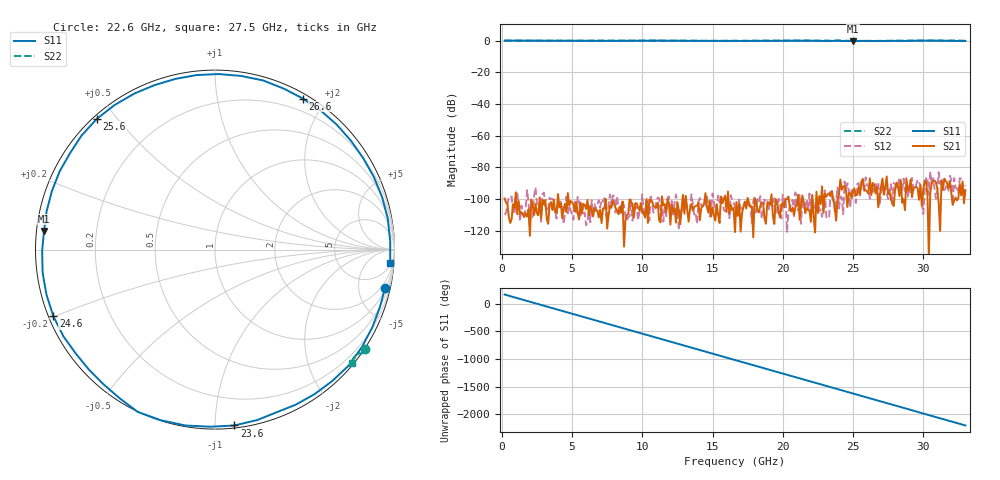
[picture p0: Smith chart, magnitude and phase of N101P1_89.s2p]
# GHZ S RI R 50
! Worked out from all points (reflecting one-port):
!   329 points, 200 MHz to 33 GHz, reference 50 ohm
!   lowest |S11| = -0.4 dB at 25 GHz (marker M1), VSWR 46.66, Z = 1.07 + j2.71 ohm
!   phase of S11 starts at 165 deg and turns -2368 deg over the sweep
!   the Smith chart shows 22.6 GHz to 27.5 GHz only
!   S11 on the Smith chart (normalised r, x): 22.6 GHz: 1.18, -8.90; 23.6 GHz: 0.02, -1.12; 24.6 GHz: 0.01, -0.20; 25.6 GHz: 0.01, +0.44; 26.6 GHz: 0.05, +1.74; 27.5 GHz: 7, -24
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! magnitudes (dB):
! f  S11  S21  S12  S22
! 200 MHz  0.0  -99.7  -110.2  0.0
! 5.7 GHz  -0.1  -109.2  -101.6  -0.1
! 11.2 GHz  0.0  -113.6  -99.7  0.0
! 16.6 GHz  -0.2  -121.0  -105.0  -0.1
! 20.4 GHz  0.0  -98.6  -108.7  0.1
! 22.1 GHz  -0.1  -98.1  -97.4  0.1
! 22.6 GHz  -0.3  -98.2  -107.8  0.0
! 23 GHz  -0.1  -96.6  -94.6  0.0
! 23.4 GHz  -0.3  -98.1  -95.5  -0.1
! 23.6 GHz  -0.1  -101.1  -99.1  0.0
! 24 GHz  0.0  -97.4  -106.0  0.1
! 24.3 GHz  -0.3  -92.1  -109.6  -0.1
! 24.6 GHz  -0.2  -105.2  -90.1  -0.1
! 25 GHz  -0.4  -94.6  -95.5  -0.1
! 25.6 GHz  -0.2  -89.0  -89.8  -0.2
! 26.6 GHz  -0.2  -96.5  -90.6  -0.2
! 27.5 GHz  -0.2  -96.9  -100.2  -0.1
! 27.6 GHz  -0.2  -95.1  -94.9  -0.1
! 30.7 GHz  0.0  -88.9  -86.8  0.1
! 31.7 GHz  -0.1  -90.1  -90.3  0.0
! 32 GHz  -0.2  -96.5  -88.3  0.1
! 33 GHz  -0.2  -94.6  -91.3  -0.1
